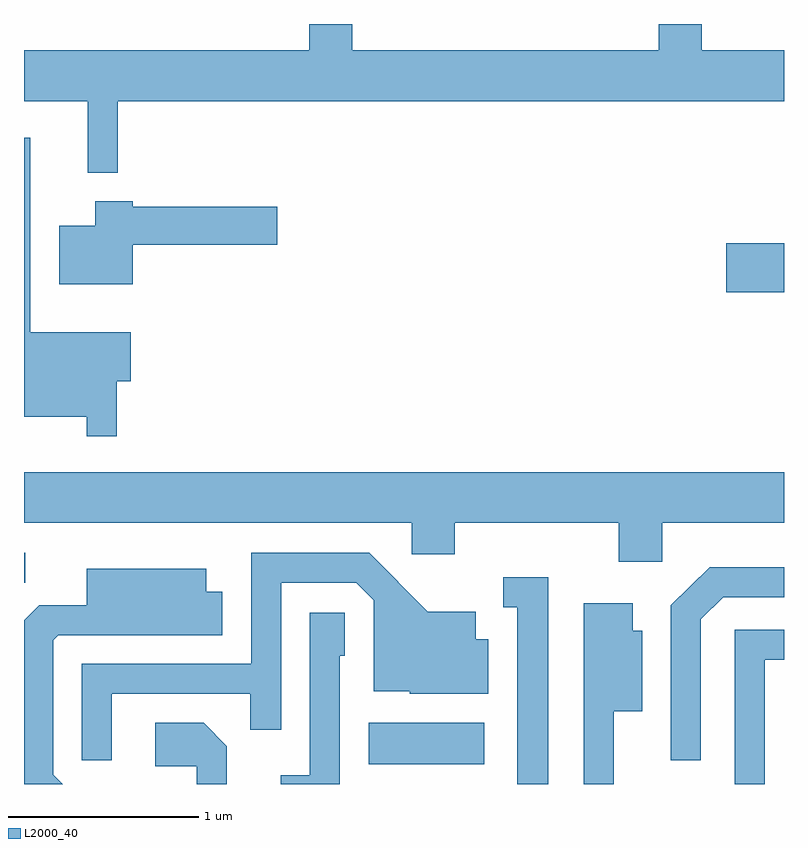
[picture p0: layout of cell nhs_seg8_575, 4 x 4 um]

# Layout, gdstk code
import gdstk
lib = gdstk.Library(unit=1e-6, precision=1e-09)
def R(c, l, rs):  # rectangles x0, y0, x1, y1
    for r in rs: c.add(gdstk.rectangle(r[:2], r[2:], *l))
def P(c, l, *ps):  # polygons
    for p in ps: c.add(gdstk.Polygon(p, *l))
L2000_40 = (2000, 40)

nhs_seg8_575 = lib.new_cell('nhs_seg8_575')
R(nhs_seg8_575, L2000_40, [(203.426,1868.446,204.034,1868.664), (201.611,1869.401,201.618,1869.559), (205.306,1870.931,205.611,1871.189)])
P(nhs_seg8_575, L2000_40, [(202.104,1871.936),(205.611,1871.936),(205.611,1872.204),(205.179,1872.204),(205.179,1872.342),(204.951,1872.342),(204.951,1872.204),(203.339,1872.204),(203.339,1872.342),(203.111,1872.342),(203.111,1872.204),(201.611,1872.204),(201.611,1871.936),(201.946,1871.936),(201.946,1871.558),(202.104,1871.558)],
  [(202.099,1870.461),(202.174,1870.461),(202.174,1870.719),(201.644,1870.719),(201.644,1871.743),(201.611,1871.743),(201.611,1870.276),(201.941,1870.276),(201.941,1870.173),(202.099,1870.173)],
  [(202.184,1871.181),(202.944,1871.181),(202.944,1871.379),(202.184,1871.379),(202.184,1871.409),(201.986,1871.409),(201.986,1871.279),(201.796,1871.279),(201.796,1870.971),(202.184,1870.971)],
  [(204.969,1869.716),(205.611,1869.716),(205.611,1869.984),(201.611,1869.984),(201.611,1869.716),(203.651,1869.716),(203.651,1869.551),(203.879,1869.551),(203.879,1869.716),(204.741,1869.716),(204.741,1869.511),(204.969,1869.511)],
  [(202.074,1868.816),(202.801,1868.816),(202.801,1868.628),(202.964,1868.628),(202.964,1869.401),(203.359,1869.401),(203.451,1869.309),(203.451,1868.831),(203.64,1868.831),(203.64,1868.816),(204.054,1868.816),(204.054,1869.104),(203.989,1869.104),(203.989,1869.249),(203.737,1869.249),(203.427,1869.559),(202.806,1869.559),(202.806,1868.974),(201.916,1868.974),(201.916,1868.468),(202.074,1868.468)],
  [(205.174,1869.209),(205.292,1869.326),(205.611,1869.326),(205.611,1869.484),(205.219,1869.484),(205.016,1869.282),(205.016,1868.468),(205.174,1868.468)],
  [(201.764,1868.392),(201.764,1869.099),(201.792,1869.126),(202.654,1869.126),(202.654,1869.354),(202.569,1869.354),(202.569,1869.474),(201.941,1869.474),(201.941,1869.284),(201.692,1869.284),(201.611,1869.204),(201.611,1868.342),(201.814,1868.342)],
  [(204.369,1869.429),(204.133,1869.429),(204.133,1869.271),(204.206,1869.271),(204.206,1868.342),(204.369,1868.342)],
  [(204.714,1868.726),(204.864,1868.726),(204.864,1869.149),(204.814,1869.149),(204.814,1869.294),(204.556,1869.294),(204.556,1868.342),(204.714,1868.342)],
  [(203.274,1869.016),(203.299,1869.016),(203.299,1869.244),(203.116,1869.244),(203.116,1868.389),(202.963,1868.389),(202.963,1868.342),(203.274,1868.342)],
  [(205.509,1868.996),(205.611,1868.996),(205.611,1869.154),(205.351,1869.154),(205.351,1868.342),(205.509,1868.342)],
  [(202.679,1868.542),(202.557,1868.664),(202.301,1868.664),(202.301,1868.436),(202.521,1868.436),(202.521,1868.342),(202.679,1868.342)])

lib.write_gds('nhs_seg8_575.gds')
